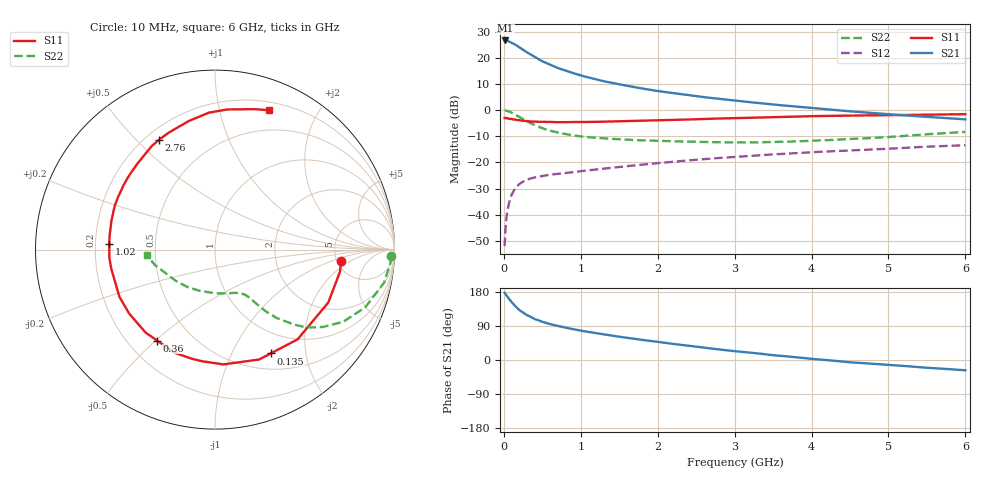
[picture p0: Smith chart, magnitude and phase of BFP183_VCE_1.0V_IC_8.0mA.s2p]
! Infineon Technologies  Discrete & RF Semiconductors
! BFP183
! VCE = 1.0 V,  IC =  8.0 mA
! Common Emitter S-Parameters:  Jan 2016
# GHz  S  MA  R  50
!  f  S11  S21  S12  S22
! GHz  MAG  ANG  MAG  ANG  MAG  ANG  MAG  ANG
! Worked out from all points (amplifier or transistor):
!   210 points, 10 MHz to 6 GHz, reference 50 ohm
!   highest |S21| = 26.6 dB at 20 MHz (marker M1)
!   |S21| within 3 dB of that: start of sweep to 221.1 MHz
!   unconditionally stable (mu >= 1): 1.162 GHz to end of sweep
!   at 185 MHz: K = 0.23, MSG = 26.5 dB, |S12| = -28.8 dB
!   at 1.52 GHz: K = 1.11, MAG = 13.7 dB, |S12| = -21.7 dB
!   at 6 GHz: K = 1.01, MAG = 4.2 dB, |S12| = -13.5 dB
!   S11 on the Smith chart (normalised r, x): 10 MHz: 5.45, -1.36; 135 MHz: 0.70, -1.43; 360 MHz: 0.32, -0.51; 1.02 GHz: 0.26, +0.03; 2.76 GHz: 0.25, +0.58; 6 GHz: 0.28, +1.42
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0.01  0.706 -5.1  21.28 177.3  0.0025 82.3  0.9838 -2.2
0.02  0.7072 -10.1  21.36 174.8  0.005 84.6  0.9795 -4.5
0.05  0.6965 -25.0  21.05 165.8  0.0129 79.4  0.9597 -11.1
0.09  0.6745 -42.9  19.66 155.6  0.0216 69.0  0.9068 -19.0
0.1  0.6795 -47.4  19.42 152.9  0.0238 67.6  0.8965 -21.1
0.135  0.6566 -61.8  18.15 145.1  0.0297 61.5  0.8414 -26.7
0.15  0.6599 -68.1  17.72 141.5  0.0323 59.6  0.8205 -29.3
0.2  0.6414 -85.9  15.91 132.1  0.0383 53.4  0.7405 -35.6
0.28  0.6175 -106.5  13.23 121.0  0.0452 45.9  0.6334 -42.1
0.36  0.6007 -122.4  11.22 112.7  0.0496 41.7  0.5506 -46.0
0.4  0.6025 -130.0  10.32 108.1  0.0515 40.0  0.513 -48.0
0.5  0.5964 -143.2  8.55 100.8  0.0549 37.1  0.448 -50.5
0.6  0.594 -153.7  7.361 94.8  0.0581 36.0  0.4037 -51.9
0.8  0.5876 -169.5  5.662 85.2  0.0626 35.4  0.3469 -53.6
1.02  0.5897 176.8  4.493 76.8  0.0682 36.0  0.3108 -55.6
1.5  0.6096 156.2  3.091 61.4  0.0817 37.2  0.2755 -61.2
2.02  0.634 137.8  2.285 47.3  0.0973 37.2  0.2577 -70.5
2.76  0.6857 117.3  1.657 28.8  0.12 34.5  0.2432 -89.0
3.1  0.7052 109.4  1.463 21.5  0.1298 32.7  0.2401 -98.9
4.1  0.7665 91.1  1.064 1.5  0.1588 26.2  0.2618 -129.9
5.1  0.8004 77.8  0.81 -14.3  0.1853 20.2  0.3115 -156.8
6  0.8323 68.8  0.663 -27.2  0.2123 12.5  0.3825 -175.6
